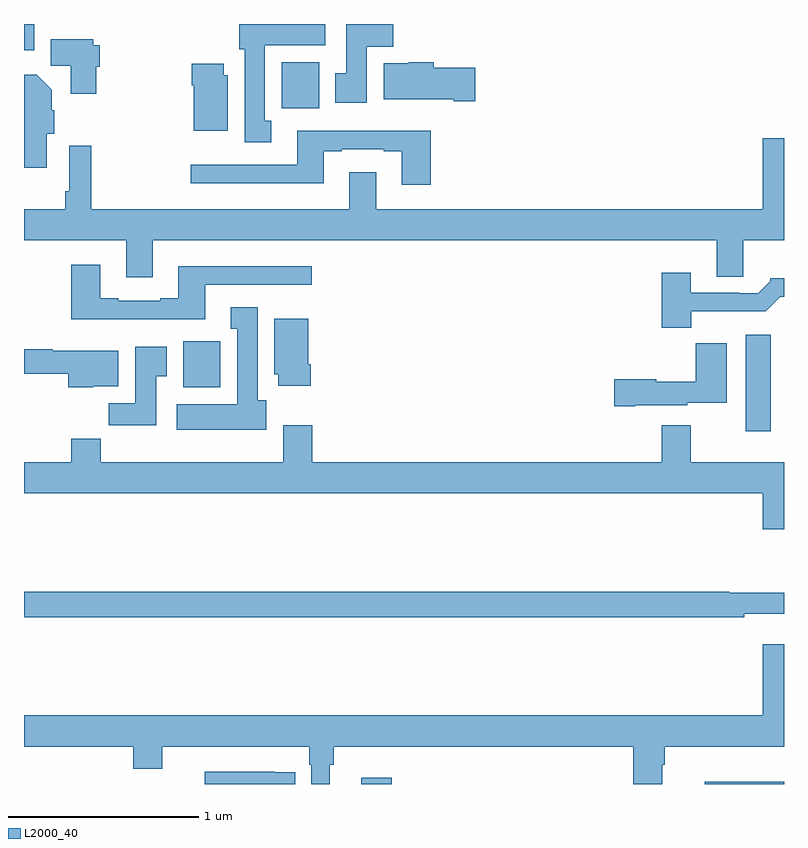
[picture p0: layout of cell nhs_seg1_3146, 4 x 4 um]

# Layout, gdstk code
import gdstk
lib = gdstk.Library(unit=1e-6, precision=1e-09)
def R(c, l, rs):  # rectangles x0, y0, x1, y1
    for r in rs: c.add(gdstk.rectangle(r[:2], r[2:], *l))
def P(c, l, *ps):  # polygons
    for p in ps: c.add(gdstk.Polygon(p, *l))
L2000_40 = (2000, 40)

nhs_seg1_3146 = lib.new_cell('nhs_seg1_3146')
R(nhs_seg1_3146, L2000_40, [(282.776,554.199,282.935,554.233), (284.584,554.199,285,554.21), (284.798,556.056,284.929,556.564), (281.837,556.286,282.034,556.528), (282.356,557.756,282.553,557.998), (281,558.062,281.053,558.199), (281.873,558.198,282.025,558.199)])
P(nhs_seg1_3146, L2000_40, [(282.805,558.08),(282.944,558.08),(282.944,558.199),(282.695,558.199),(282.695,557.94),(282.638,557.94),(282.638,557.784),(282.805,557.784)],
  [(282.301,557.69),(282.268,557.69),(282.268,558.086),(282.586,558.086),(282.586,558.199),(282.134,558.199),(282.134,558.066),(282.161,558.066),(282.161,557.577),(282.301,557.577)],
  [(281.381,557.973),(281.399,557.973),(281.399,558.087),(281.364,558.087),(281.364,558.118),(281.141,558.118),(281.141,557.98),(281.246,557.98),(281.246,557.832),(281.381,557.832)],
  [(283.375,557.97),(283.157,557.97),(283.157,557.998),(283.026,557.998),(283.026,557.992),(282.893,557.992),(282.893,557.804),(283.262,557.804),(283.262,557.792),(283.375,557.792)],
  [(282.073,557.928),(282.052,557.928),(282.052,557.989),(281.882,557.989),(281.882,557.876),(281.894,557.876),(281.894,557.636),(282.073,557.636)],
  [(281.119,557.622),(281.159,557.622),(281.159,557.744),(281.146,557.744),(281.146,557.854),(281.068,557.932),(281,557.932),(281,557.442),(281.119,557.442)],
  [(283.142,557.638),(282.437,557.638),(282.437,557.457),(281.877,557.457),(281.877,557.36),(282.577,557.36),(282.577,557.529),(282.673,557.529),(282.673,557.541),(282.893,557.541),(282.893,557.529),(282.989,557.529),(282.989,557.352),(283.142,557.352)],
  [(281.677,557.06),(284.645,557.06),(284.645,556.87),(284.785,556.87),(284.785,557.06),(285,557.06),(285,557.599),(284.888,557.599),(284.888,557.224),(282.853,557.224),(282.853,557.419),(282.713,557.419),(282.713,557.224),(281.354,557.224),(281.354,557.557),(281.238,557.557),(281.238,557.32),(281.218,557.32),(281.218,557.224),(281,557.224),(281,557.06),(281.537,557.06),(281.537,556.866),(281.677,556.866)],
  [(281.953,556.827),(282.514,556.827),(282.514,556.924),(281.813,556.924),(281.813,556.756),(281.717,556.756),(281.717,556.743),(281.497,556.743),(281.497,556.756),(281.401,556.756),(281.401,556.933),(281.249,556.933),(281.249,556.646),(281.953,556.646)],
  [(284.512,556.688),(284.903,556.688),(284.979,556.764),(285,556.764),(285,556.861),(284.928,556.861),(284.928,556.846),(284.864,556.782),(284.765,556.782),(284.765,556.785),(284.509,556.785),(284.509,556.891),(284.357,556.891),(284.357,556.601),(284.512,556.601)],
  [(282.274,556.218),(282.229,556.218),(282.229,556.708),(282.089,556.708),(282.089,556.595),(282.122,556.595),(282.122,556.198),(281.805,556.198),(281.805,556.064),(282.274,556.064)],
  [(282.509,556.408),(282.496,556.408),(282.496,556.648),(282.317,556.648),(282.317,556.356),(282.338,556.356),(282.338,556.296),(282.509,556.296)],
  [(284.218,556.193),(284.49,556.193),(284.49,556.205),(284.698,556.205),(284.698,556.519),(284.536,556.519),(284.536,556.315),(284.328,556.315),(284.328,556.328),(284.106,556.328),(284.106,556.186),(284.218,556.186)],
  [(281.695,556.345),(281.752,556.345),(281.752,556.501),(281.585,556.501),(281.585,556.204),(281.446,556.204),(281.446,556.086),(281.695,556.086)],
  [(281.364,556.292),(281.497,556.292),(281.497,556.48),(281.15,556.48),(281.15,556.487),(281,556.487),(281,556.359),(281.234,556.359),(281.234,556.286),(281.364,556.286)],
  [(285,555.892),(284.509,555.892),(284.509,556.087),(284.357,556.087),(284.357,555.892),(282.518,555.892),(282.518,556.087),(282.365,556.087),(282.365,555.892),(281.405,555.892),(281.405,556.016),(281.249,556.016),(281.249,555.892),(281,555.892),(281,555.728),(284.888,555.728),(284.888,555.54),(285,555.54)],
  [(284.792,555.095),(285,555.095),(285,555.205),(284.711,555.205),(284.711,555.212),(281,555.212),(281,555.076),(284.792,555.076)],
  [(282.61,554.3),(282.629,554.3),(282.629,554.396),(284.207,554.396),(284.207,554.199),(284.359,554.199),(284.359,554.3),(284.372,554.3),(284.372,554.396),(285,554.396),(285,554.935),(284.888,554.935),(284.888,554.56),(281,554.56),(281,554.396),(281.576,554.396),(281.576,554.279),(281.728,554.279),(281.728,554.396),(282.5,554.396),(282.5,554.3),(282.513,554.3),(282.513,554.199),(282.61,554.199)],
  [(282.428,554.262),(282.32,554.262),(282.32,554.263),(281.952,554.263),(281.952,554.199),(282.428,554.199)])

lib.write_gds('nhs_seg1_3146.gds')
